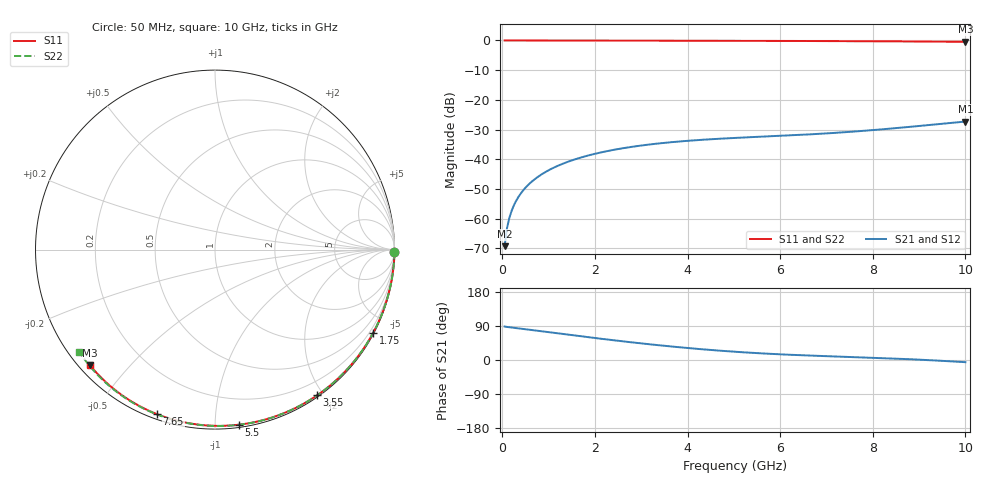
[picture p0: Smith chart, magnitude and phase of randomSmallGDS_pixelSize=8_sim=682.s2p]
! freq	dB(S11)	phase(S11)	dB(S12)	phase(S12)
!  dB(S21)	phase(S21)	dB(S22)	phase(S22)
!S-par simulation data
#  GHz  S  DB  R 50
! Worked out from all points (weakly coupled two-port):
!   200 points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, 50 MHz to 10 GHz, reference 50 ohm
!   highest |S21| = -27.31 dB at 10 GHz (marker M1); lowest = -69.3 dB at 50 MHz (marker M2)
!   lowest |S11| = -0.5 dB at 10 GHz (marker M3), VSWR 38.03, Z = 1.52 - j19.6 ohm
!   |S11| at or under -10 dB: nowhere
!   |S22| runs from -0.5 to 0.0 dB; largest |S21 - S12| = 0
!   S11 on the Smith chart (normalised r, x): 50 MHz: open; 1.75 GHz: 0.04, -4.04; 3.55 GHz: 0.02, -1.92; 5.5 GHz: 0.02, -1.15; 7.65 GHz: 0.02, -0.71; 10 GHz: 0.03, -0.39
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0.05  -0.00 -0.8  -69.27 88.4  -69.27 88.4  -0.00 -0.8
0.1  -0.00 -1.6  -63.33 87.3  -63.33 87.3  -0.00 -1.7
0.15  -0.00 -2.4  -59.88 86.4  -59.88 86.4  -0.00 -2.5
0.2  -0.00 -3.2  -57.43 85.6  -57.43 85.6  -0.00 -3.4
0.25  -0.00 -4.0  -55.53 84.9  -55.53 84.9  -0.00 -4.2
0.35  -0.00 -5.7  -52.65 83.5  -52.65 83.5  -0.00 -5.9
0.5  -0.01 -8.1  -49.59 81.2  -49.59 81.2  -0.01 -8.4
0.7  -0.01 -11.3  -46.72 78.1  -46.72 78.1  -0.01 -11.8
1  -0.02 -16.0  -43.71 73.4  -43.71 73.4  -0.02 -16.8
1.35  -0.03 -21.5  -41.24 67.9  -41.24 67.9  -0.03 -22.6
1.75  -0.04 -27.8  -39.18 61.8  -39.18 61.8  -0.04 -29.1
2.5  -0.05 -39.3  -36.57 50.7  -36.57 50.7  -0.05 -41.2
3.4  -0.07 -52.8  -34.64 38.7  -34.64 38.7  -0.07 -55.2
3.55  -0.07 -55.0  -34.40 36.9  -34.40 36.9  -0.08 -57.5
4.3  -0.09 -65.7  -33.46 28.5  -33.46 28.5  -0.10 -68.7
5.05  -0.12 -76.1  -32.80 21.6  -32.80 21.6  -0.12 -79.4
5.5  -0.13 -82.1  -32.47 18.1  -32.47 18.1  -0.14 -85.7
6.7  -0.19 -97.6  -31.57 11.5  -31.57 11.5  -0.20 -101.9
7.65  -0.25 -109.4  -30.61 7.6  -30.61 7.6  -0.26 -114.1
8.35  -0.30 -117.8  -29.72 4.4  -29.72 4.4  -0.31 -122.9
9.2  -0.37 -127.8  -28.51 -0.3  -28.51 -0.3  -0.39 -133.3
10  -0.46 -137.2  -27.31 -5.7  -27.31 -5.7  -0.48 -143.2
